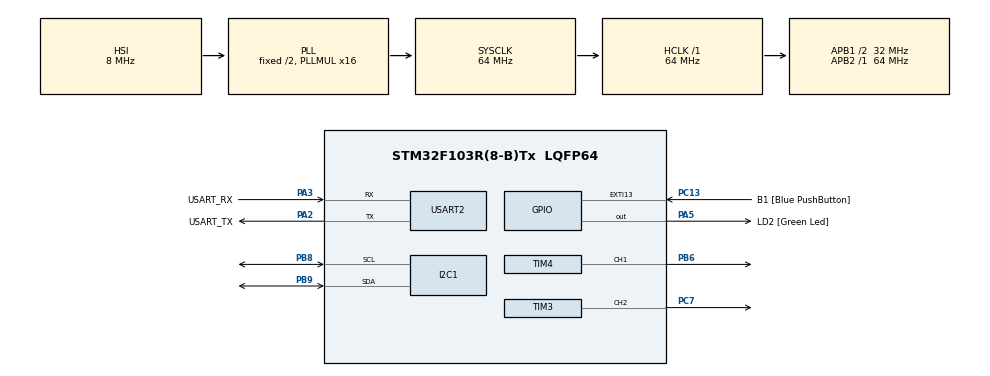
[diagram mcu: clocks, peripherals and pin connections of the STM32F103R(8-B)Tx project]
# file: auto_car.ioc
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Mcu.Family=STM32F1
Mcu.Name=STM32F103R(8-B)Tx
Mcu.Package=LQFP64
NVIC.EXTI15_10_IRQn=true\:0\:0\:false\:false\:true\:true\:true\:true
NVIC.PriorityGroup=NVIC_PRIORITYGROUP_4
NVIC.USART2_IRQn=true\:1\:0\:true\:false\:true\:true\:true\:true
PA13.GPIO_Label=TMS
PA13.Mode=Serial_Wire
PA13.Signal=SYS_JTMS-SWDIO
PA14.GPIO_Label=TCK
PA14.Mode=Serial_Wire
PA14.Signal=SYS_JTCK-SWCLK
PA2.GPIO_Label=USART_TX
PA2.GPIO_Mode=GPIO_MODE_AF_PP
PA2.GPIO_Speed=GPIO_SPEED_FREQ_HIGH
PA2.Mode=Asynchronous
PA2.Signal=USART2_TX
PA3.GPIO_Label=USART_RX
PA3.GPIO_Mode=GPIO_MODE_INPUT
PA3.GPIO_PuPd=GPIO_NOPULL
PA3.GPIO_Speed=GPIO_SPEED_FREQ_LOW
PA3.Mode=Asynchronous
PA3.Signal=USART2_RX
PA5.GPIO_Label=LD2 [Green Led]
PA5.GPIO_ModeDefaultOutputPP=GPIO_MODE_OUTPUT_PP
PA5.GPIO_PuPd=GPIO_NOPULL
PA5.GPIO_Speed=GPIO_SPEED_FREQ_LOW
PA5.Signal=GPIO_Output
PB3.GPIO_Label=SWO
PB3.Signal=SYS_JTDO-TRACESWO
PB6.Signal=S_TIM4_CH1
PB8.Mode=I2C
PB8.Signal=I2C1_SCL
PB9.Mode=I2C
PB9.Signal=I2C1_SDA
PC13-TAMPER-RTC.GPIO_Label=B1 [Blue PushButton]
PC13-TAMPER-RTC.GPIO_PuPd=GPIO_NOPULL
PC13-TAMPER-RTC.Signal=GPXTI13
PC14-OSC32_IN.Mode=LSE-External-Oscillator
PC14-OSC32_IN.Signal=RCC_OSC32_IN
PC15-OSC32_OUT.Mode=LSE-External-Oscillator
PC15-OSC32_OUT.Signal=RCC_OSC32_OUT
PC7.Signal=S_TIM3_CH2
PD0-OSC_IN.Mode=HSE-External-Clock-Source
PD0-OSC_IN.Signal=RCC_OSC_IN
PD1-OSC_OUT.Mode=HSE-External-Clock-Source
PD1-OSC_OUT.Signal=RCC_OSC_OUT
ProjectManager.HeapSize=0x200
ProjectManager.StackSize=0x400
ProjectManager.TargetToolchain=MDK-ARM V5.32
RCC.AHBFreq_Value=64000000
RCC.APB1CLKDivider=RCC_HCLK_DIV2
RCC.APB1Freq_Value=32000000
RCC.APB1TimFreq_Value=64000000
RCC.APB2Freq_Value=64000000
RCC.APB2TimFreq_Value=64000000
RCC.HCLKFreq_Value=64000000
RCC.PLLMUL=RCC_PLL_MUL16
RCC.RTCClockSelection=RCC_RTCCLKSOURCE_LSE
RCC.SYSCLKFreq_VALUE=64000000
RCC.SYSCLKSource=RCC_SYSCLKSOURCE_PLLCLK
RCC.USBFreq_Value=64000000
SH.S_TIM3_CH2.0=TIM3_CH2,PWM Generation2 CH2
SH.S_TIM4_CH1.0=TIM4_CH1,PWM Generation1 CH1
TIM3.Channel-PWM\ Generation2\ CH2=TIM_CHANNEL_2
TIM3.Period=19999
TIM3.Prescaler=63
TIM3.Pulse-PWM\ Generation2\ CH2=1500
TIM4.Channel-PWM\ Generation1\ CH1=TIM_CHANNEL_1
TIM4.Period=19999
TIM4.Prescaler=63
TIM4.Pulse-PWM\ Generation1\ CH1=1500
USART2.VirtualMode=VM_ASYNC
board=NUCLEO-F103RB

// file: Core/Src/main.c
/* USER CODE BEGIN Header */
/**
  ******************************************************************************
  * @file           : main.c
  * @brief          : Main program body
  ******************************************************************************
  * @attention
  *
  * Copyright (c) 2026 STMicroelectronics.
  * All rights reserved.
  *
  * This software is licensed under terms that can be found in the LICENSE file
  * in the root directory of this software component.
  * If no LICENSE file comes with this software, it is provided AS-IS.
  *
  ******************************************************************************
  */
/* USER CODE END Header */
#include "main.h"

/* USER CODE BEGIN Includes */
#include "stdio.h"
/* USER CODE END Includes */

/* USER CODE BEGIN PD */
#define ESC_STOP_PULSE_US       1500U
#define BENCH_TIMEOUT_MS        2000U

#define BNO055_I2C_ADDRESS_7BIT  0x28U
#define BNO055_CHIP_ID_REGISTER  0x00U

#define BMP280_I2C_ADDRESS_7BIT  0x76U
#define BMP280_CHIP_ID_REGISTER  0xD0U

#define BNO055_OPR_MODE_REGISTER  0x3DU
#define BNO055_CONFIG_MODE        0x00U
#define BNO055_NDOF_MODE          0x0CU

#define BNO055_EULER_DATA_REGISTER  0x1AU
#define BNO055_EULER_SCALE           16L
#define IMU_OUTPUT_PERIOD_MS         200U

#define BNO055_CALIB_STAT_REGISTER  0x35U
#define CALIB_OUTPUT_PERIOD_MS      1000U

#define BNO055_SYS_STATUS_REGISTER  0x39U
#define BNO055_SYS_ERR_REGISTER     0x3AU
/* USER CODE END PD */

I2C_HandleTypeDef hi2c1;

TIM_HandleTypeDef htim3;
TIM_HandleTypeDef htim4;

UART_HandleTypeDef huart2;

/* USER CODE BEGIN PV */

static const uint8_t pong_message[] = "PONG\n";

static uint8_t uart_rx_byte = 0U;
static uint8_t uart_line_buffer[16];
static volatile uint8_t uart_line_length = 0U;
static volatile uint8_t uart_line_ready = 0U;
static uint32_t last_led_tick = 0U;

static volatile uint8_t stop_requested = 0U;
static uint8_t bench_command_active = 0U;
static uint32_t last_bench_command_tick = 0U;

static uint32_t last_imu_tick = 0U;

static uint32_t last_calib_tick = 0U;

/* USER CODE END PV */

void SystemClock_Config(void);
static void MX_GPIO_Init(void);
static void MX_USART2_UART_Init(void);
static void MX_TIM3_Init(void);
static void MX_TIM4_Init(void);
static void MX_I2C1_Init(void);
/* USER CODE BEGIN PFP */
static void I2C_Scan(void);
static void Sensor_ReadChipIds(void);
static void BNO055_EnableNDOF(void);
static void BNO055_PrintEuler(void);
static void BNO055_PrintCalibration(void);
static void BNO055_PrintDiagnostics(void);
/* USER CODE END PFP */

/* USER CODE BEGIN 0 */
static void BNO055_PrintDiagnostics(void)
{
    static const uint8_t read_error[] =
        "BNO055 DIAGNOSTIC READ ERROR\r\n";

    uint8_t system_data[2];
    uint8_t operation_mode = 0U;
    char message[80];
    int message_length;

    if (HAL_I2C_Mem_Read(
            &hi2c1,
            (uint16_t)(BNO055_I2C_ADDRESS_7BIT << 1U),
            BNO055_SYS_STATUS_REGISTER,
            I2C_MEMADD_SIZE_8BIT,
            system_data,
            2U,
            100U) != HAL_OK)
    {
        (void)HAL_UART_Transmit(
            &huart2,
            (uint8_t *)read_error,
            (uint16_t)(sizeof(read_error) - 1U),
            100U);
        return;
    }

    if (HAL_I2C_Mem_Read(
            &hi2c1,
            (uint16_t)(BNO055_I2C_ADDRESS_7BIT << 1U),
            BNO055_OPR_MODE_REGISTER,
            I2C_MEMADD_SIZE_8BIT,
            &operation_mode,
            1U,
            100U) != HAL_OK)
    {
        (void)HAL_UART_Transmit(
            &huart2,
            (uint8_t *)read_error,
            (uint16_t)(sizeof(read_error) - 1U),
            100U);
        return;
    }

    message_length = snprintf(
        message,
        sizeof(message),
        "MODE=0x%02X SYS_STATUS=%u SYS_ERR=0x%02X\r\n",
        (unsigned int)operation_mode,
        (unsigned int)system_data[0],
        (unsigned int)system_data[1]);

    if ((message_length > 0) &&
        (message_length < (int)sizeof(message)))
    {
        (void)HAL_UART_Transmit(
            &huart2,
            (uint8_t *)message,
            (uint16_t)message_length,
            100U);
    }
}

static void I2C_Scan(void)
{
    static const uint8_t hex_digits[] = "0123456789ABCDEF";
    static const uint8_t done_message[] = "I2C SCAN DONE\r\n";
    static const uint8_t none_message[] = "I2C DEVICE NOT FOUND\r\n";

    uint8_t message[] = "I2C 0x00\r\n";
    uint8_t device_found = 0U;
    uint16_t address;

    for (address = 0x08U; address <= 0x77U; address++)
    {
        if (HAL_I2C_IsDeviceReady(
                &hi2c1,
                (uint16_t)(address << 1U),
                2U,
                20U) == HAL_OK)
        {
            device_found = 1U;

            message[6] = hex_digits[(address >> 4U) & 0x0FU];
            message[7] = hex_digits[address & 0x0FU];

            (void)HAL_UART_Transmit(
                &huart2,
                message,
                (uint16_t)(sizeof(message) - 1U),
                100U);
        }
    }

    if (device_found != 0U)
    {
        (void)HAL_UART_Transmit(
            &huart2,
            done_message,
            (uint16_t)(sizeof(done_message) - 1U),
            100U);
    }
    else
    {
        (void)HAL_UART_Transmit(
            &huart2,
            none_message,
            (uint16_t)(sizeof(none_message) - 1U),
            100U);
    }
}

static void Sensor_ReadChipIds(void)
{
    static const uint8_t hex_digits[] = "0123456789ABCDEF";
    static const uint8_t bno_error[] = "BNO055 READ ERROR\r\n";
    static const uint8_t bmp_error[] = "BMP280 READ ERROR\r\n";

    uint8_t bno_message[] = "BNO055 ID: 0x00\r\n";
    uint8_t bmp_message[] = "BMP280 ID: 0x00\r\n";
    uint8_t chip_id = 0U;

    if (HAL_I2C_Mem_Read(
            &hi2c1,
            (uint16_t)(BNO055_I2C_ADDRESS_7BIT << 1U),
            BNO055_CHIP_ID_REGISTER,
            I2C_MEMADD_SIZE_8BIT,
            &chip_id,
            1U,
            100U) == HAL_OK)
    {
        bno_message[13] = hex_digits[(chip_id >> 4U) & 0x0FU];
        bno_message[14] = hex_digits[chip_id & 0x0FU];

        (void)HAL_UART_Transmit(
            &huart2,
            bno_message,
            (uint16_t)(sizeof(bno_message) - 1U),
            100U);
    }
    else
    {
        (void)HAL_UART_Transmit(
            &huart2,
            bno_error,
            (uint16_t)(sizeof(bno_error) - 1U),
            100U);
    }

    chip_id = 0U;

    if (HAL_I2C_Mem_Read(
            &hi2c1,
            (uint16_t)(BMP280_I2C_ADDRESS_7BIT << 1U),
            BMP280_CHIP_ID_REGISTER,
            I2C_MEMADD_SIZE_8BIT,
            &chip_id,
            1U,
            100U) == HAL_OK)
    {
        bmp_message[13] = hex_digits[(chip_id >> 4U) & 0x0FU];
        bmp_message[14] = hex_digits[chip_id & 0x0FU];

        (void)HAL_UART_Transmit(
            &huart2,
            bmp_message,
            (uint16_t)(sizeof(bmp_message) - 1U),
            100U);
    }
    else
    {
        (void)HAL_UART_Transmit(
            &huart2,
            bmp_error,
            (uint16_t)(sizeof(bmp_error) - 1U),
            100U);
    }
}

static void BNO055_EnableNDOF(void)
{
    static const uint8_t hex_digits[] = "0123456789ABCDEF";
    static const uint8_t write_error[] = "BNO055 MODE WRITE ERROR\r\n";
    static const uint8_t read_error[] = "BNO055 MODE READ ERROR\r\n";

    uint8_t message[] = "BNO055 MODE: 0x00\r\n";
    uint8_t mode = BNO055_CONFIG_MODE;

    if (HAL_I2C_Mem_Write(
            &hi2c1,
            (uint16_t)(BNO055_I2C_ADDRESS_7BIT << 1U),
            BNO055_OPR_MODE_REGISTER,
            I2C_MEMADD_SIZE_8BIT,
            &mode,
            1U,
            100U) != HAL_OK)
    {
        (void)HAL_UART_Transmit(
            &huart2,
            write_error,
            (uint16_t)(sizeof(write_error) - 1U),
            100U);
        return;
    }

    HAL_Delay(20U);

    mode = BNO055_NDOF_MODE;

    if (HAL_I2C_Mem_Write(
            &hi2c1,
            (uint16_t)(BNO055_I2C_ADDRESS_7BIT << 1U),
            BNO055_OPR_MODE_REGISTER,
            I2C_MEMADD_SIZE_8BIT,
            &mode,
            1U,
            100U) != HAL_OK)
    {
        (void)HAL_UART_Transmit(
            &huart2,
            write_error,
            (uint16_t)(sizeof(write_error) - 1U),
            100U);
        return;
    }

    HAL_Delay(10U);

    mode = 0U;

    if (HAL_I2C_Mem_Read(
            &hi2c1,
            (uint16_t)(BNO055_I2C_ADDRESS_7BIT << 1U),
            BNO055_OPR_MODE_REGISTER,
            I2C_MEMADD_SIZE_8BIT,
            &mode,
            1U,
            100U) == HAL_OK)
    {
        message[15] = hex_digits[(mode >> 4U) & 0x0FU];
        message[16] = hex_digits[mode & 0x0FU];

        (void)HAL_UART_Transmit(
            &huart2,
            message,
            (uint16_t)(sizeof(message) - 1U),
            100U);
    }
    else
    {
        (void)HAL_UART_Transmit(
            &huart2,
            read_error,
            (uint16_t)(sizeof(read_error) - 1U),
            100U);
    }
}

static void BNO055_PrintEuler(void)
{
    static const uint8_t read_error[] = "BNO055 EULER READ ERROR\r\n";

    uint8_t data[6];
    int16_t heading_raw;
    int16_t roll_raw;
    int16_t pitch_raw;

    int32_t heading_cdeg;
    int32_t roll_cdeg;
    int32_t pitch_cdeg;

    char message[80];
    int message_length;

    if (HAL_I2C_Mem_Read(
            &hi2c1,
            (uint16_t)(BNO055_I2C_ADDRESS_7BIT << 1U),
            BNO055_EULER_DATA_REGISTER,
            I2C_MEMADD_SIZE_8BIT,
            data,
            6U,
            100U) != HAL_OK)
    {
        (void)HAL_UART_Transmit(
            &huart2,
            (uint8_t *)read_error,
            (uint16_t)(sizeof(read_error) - 1U),
            100U);
        return;
    }

    heading_raw = (int16_t)(
        ((uint16_t)data[1] << 8U) |
        (uint16_t)data[0]);

    roll_raw = (int16_t)(
        ((uint16_t)data[3] << 8U) |
        (uint16_t)data[2]);

    pitch_raw = (int16_t)(
        ((uint16_t)data[5] << 8U) |
        (uint16_t)data[4]);

    /*
     * BNO055 produces 16 LSB per degree.
     * Convert to centidegrees:
     * 12345 means 123.45 degrees.
     */
    heading_cdeg =
        ((int32_t)heading_raw * 100L) / BNO055_EULER_SCALE;

    roll_cdeg =
        ((int32_t)roll_raw * 100L) / BNO055_EULER_SCALE;

    pitch_cdeg =
        ((int32_t)pitch_raw * 100L) / BNO055_EULER_SCALE;

    message_length = snprintf(
        message,
        sizeof(message),
        "H_cdeg=%ld R_cdeg=%ld P_cdeg=%ld\r\n",
        (long)heading_cdeg,
        (long)roll_cdeg,
        (long)pitch_cdeg);

    if ((message_length > 0) &&
        (message_length < (int)sizeof(message)))
    {
        (void)HAL_UART_Transmit(
            &huart2,
            (uint8_t *)message,
            (uint16_t)message_length,
            100U);
    }
}

void HAL_GPIO_EXTI_Callback(uint16_t GPIO_Pin)
{
    if (GPIO_Pin == B1_Pin)
    {
        stop_requested = 1U;
    }
}

void HAL_UART_RxCpltCallback(UART_HandleTypeDef *huart)
{
    if (huart->Instance == USART2)
    {
        if (uart_line_ready == 0U)
        {
            if (uart_rx_byte == (uint8_t)'\n')
            {
                uart_line_ready = 1U;
            }
            else if (uart_rx_byte != (uint8_t)'\r')
            {
                if (uart_line_length < (uint8_t)sizeof(uart_line_buffer))
                {
                    uart_line_buffer[uart_line_length] = uart_rx_byte;
                    uart_line_length++;
                }
                else
                {
                    uart_line_length = 0U;
                }
            }
        }

        if (HAL_UART_Receive_IT(&huart2, &uart_rx_byte, 1U) != HAL_OK)
        {
            Error_Handler();
        }
    }
}

static void BNO055_PrintCalibration(void)
{
    static const uint8_t read_error[] =
        "BNO055 CALIB READ ERROR\r\n";

    uint8_t calib_status = 0U;
    uint8_t system_status;
    uint8_t gyro_status;
    uint8_t accel_status;
    uint8_t mag_status;

    char message[64];
    int message_length;

    if (HAL_I2C_Mem_Read(
            &hi2c1,
            (uint16_t)(BNO055_I2C_ADDRESS_7BIT << 1U),
            BNO055_CALIB_STAT_REGISTER,
            I2C_MEMADD_SIZE_8BIT,
            &calib_status,
            1U,
            100U) != HAL_OK)
    {
        (void)HAL_UART_Transmit(
            &huart2,
            (uint8_t *)read_error,
            (uint16_t)(sizeof(read_error) - 1U),
            100U);
        return;
    }

    system_status = (calib_status >> 6U) & 0x03U;
    gyro_status   = (calib_status >> 4U) & 0x03U;
    accel_status  = (calib_status >> 2U) & 0x03U;
    mag_status    = calib_status & 0x03U;

    message_length = snprintf(
        message,
        sizeof(message),
        "CAL SYS=%u GYR=%u ACC=%u MAG=%u\r\n",
        (unsigned int)system_status,
        (unsigned int)gyro_status,
        (unsigned int)accel_status,
        (unsigned int)mag_status);

    if ((message_length > 0) &&
        (message_length < (int)sizeof(message)))
    {
        (void)HAL_UART_Transmit(
            &huart2,
            (uint8_t *)message,
            (uint16_t)message_length,
            100U);
    }
}
/* USER CODE END 0 */

int main(void)
{

  /* MCU Configuration--------------------------------------------------------*/

  /* Reset of all peripherals, Initializes the Flash interface and the Systick. */
  HAL_Init();

  /* Configure the system clock */
  SystemClock_Config();

  /* Initialize all configured peripherals */
  MX_GPIO_Init();
  MX_USART2_UART_Init();
  MX_TIM3_Init();
  MX_TIM4_Init();
  MX_I2C1_Init();
  /* USER CODE BEGIN 2 */
	if (HAL_UART_Receive_IT(&huart2, &uart_rx_byte, 1U) != HAL_OK)
	{
    Error_Handler();
	}
	if (HAL_TIM_PWM_Start(&htim3, TIM_CHANNEL_2) != HAL_OK)
	{
    Error_Handler();
	}

	HAL_Delay(700);
	I2C_Scan();
	Sensor_ReadChipIds();
	BNO055_EnableNDOF();

	if (HAL_TIM_PWM_Start(&htim4, TIM_CHANNEL_1) != HAL_OK)
	{
    Error_Handler();
	}
  __HAL_TIM_SET_COMPARE(
    &htim4,
    TIM_CHANNEL_1,
    ESC_STOP_PULSE_US
  );
  /* USER CODE END 2 */

  /* Infinite loop */
	while (1)
	{

    /* USER CODE BEGIN 3 */
		if (stop_requested != 0U)
		{
			__HAL_TIM_SET_COMPARE(
					&htim4,
					TIM_CHANNEL_1,
					ESC_STOP_PULSE_US
			);

			bench_command_active = 0U;
			stop_requested = 0U;
		}
		else if ((bench_command_active != 0U) &&
         ((HAL_GetTick() - last_bench_command_tick) >= BENCH_TIMEOUT_MS))
		{
			__HAL_TIM_SET_COMPARE(
					&htim4,
					TIM_CHANNEL_1,
					ESC_STOP_PULSE_US
			);

			bench_command_active = 0U;
		}

		if ((HAL_GetTick() - last_led_tick) >= 500U)
		{
			last_led_tick = HAL_GetTick();
			HAL_GPIO_TogglePin(LD2_GPIO_Port, LD2_Pin);
		}
		if ((HAL_GetTick() - last_imu_tick) >= IMU_OUTPUT_PERIOD_MS)
		{
			last_imu_tick = HAL_GetTick();
			BNO055_PrintEuler();
		}

		if ((HAL_GetTick() - last_calib_tick) >= CALIB_OUTPUT_PERIOD_MS)
		{
			last_calib_tick = HAL_GetTick();
			BNO055_PrintCalibration();
			BNO055_PrintDiagnostics();
		}

		if (uart_line_ready != 0U)
		{
			if ((uart_line_length == 4U) &&
					(uart_line_buffer[0] == (uint8_t)'P') &&
					(uart_line_buffer[1] == (uint8_t)'I') &&
					(uart_line_buffer[2] == (uint8_t)'N') &&
					(uart_line_buffer[3] == (uint8_t)'G'))
			{
					HAL_UART_Transmit(
							&huart2,
							(uint8_t *)pong_message,
							(uint16_t)(sizeof(pong_message) - 1U),
							100U
					);
			}

			uart_line_length = 0U;
			uart_line_ready = 0U;
		}
  }
  /* USER CODE END 3 */
}

void SystemClock_Config(void)
{
  RCC_OscInitTypeDef RCC_OscInitStruct = {0};
  RCC_ClkInitTypeDef RCC_ClkInitStruct = {0};

  /** Initializes the RCC Oscillators according to the specified parameters
  * in the RCC_OscInitTypeDef structure.
  */
  RCC_OscInitStruct.OscillatorType = RCC_OSCILLATORTYPE_HSI;
  RCC_OscInitStruct.HSIState = RCC_HSI_ON;
  RCC_OscInitStruct.HSICalibrationValue = RCC_HSICALIBRATION_DEFAULT;
  RCC_OscInitStruct.PLL.PLLState = RCC_PLL_ON;
  RCC_OscInitStruct.PLL.PLLSource = RCC_PLLSOURCE_HSI_DIV2;
  RCC_OscInitStruct.PLL.PLLMUL = RCC_PLL_MUL16;
  if (HAL_RCC_OscConfig(&RCC_OscInitStruct) != HAL_OK)
  {
    Error_Handler();
  }

  /** Initializes the CPU, AHB and APB buses clocks
  */
  RCC_ClkInitStruct.ClockType = RCC_CLOCKTYPE_HCLK|RCC_CLOCKTYPE_SYSCLK
                              |RCC_CLOCKTYPE_PCLK1|RCC_CLOCKTYPE_PCLK2;
  RCC_ClkInitStruct.SYSCLKSource = RCC_SYSCLKSOURCE_PLLCLK;
  RCC_ClkInitStruct.AHBCLKDivider = RCC_SYSCLK_DIV1;
  RCC_ClkInitStruct.APB1CLKDivider = RCC_HCLK_DIV2;
  RCC_ClkInitStruct.APB2CLKDivider = RCC_HCLK_DIV1;

  if (HAL_RCC_ClockConfig(&RCC_ClkInitStruct, FLASH_LATENCY_2) != HAL_OK)
  {
    Error_Handler();
  }
}

static void MX_I2C1_Init(void)
{

  hi2c1.Instance = I2C1;
  hi2c1.Init.ClockSpeed = 100000;
  hi2c1.Init.DutyCycle = I2C_DUTYCYCLE_2;
  hi2c1.Init.OwnAddress1 = 0;
  hi2c1.Init.AddressingMode = I2C_ADDRESSINGMODE_7BIT;
  hi2c1.Init.DualAddressMode = I2C_DUALADDRESS_DISABLE;
  hi2c1.Init.OwnAddress2 = 0;
  hi2c1.Init.GeneralCallMode = I2C_GENERALCALL_DISABLE;
  hi2c1.Init.NoStretchMode = I2C_NOSTRETCH_DISABLE;
  if (HAL_I2C_Init(&hi2c1) != HAL_OK)
  {
    Error_Handler();
  }

}

static void MX_TIM3_Init(void)
{

  TIM_MasterConfigTypeDef sMasterConfig = {0};
  TIM_OC_InitTypeDef sConfigOC = {0};

  htim3.Instance = TIM3;
  htim3.Init.Prescaler = 63;
  htim3.Init.CounterMode = TIM_COUNTERMODE_UP;
  htim3.Init.Period = 19999;
  htim3.Init.ClockDivision = TIM_CLOCKDIVISION_DIV1;
  htim3.Init.AutoReloadPreload = TIM_AUTORELOAD_PRELOAD_DISABLE;
  if (HAL_TIM_PWM_Init(&htim3) != HAL_OK)
  {
    Error_Handler();
  }
  sMasterConfig.MasterOutputTrigger = TIM_TRGO_RESET;
  sMasterConfig.MasterSlaveMode = TIM_MASTERSLAVEMODE_DISABLE;
  if (HAL_TIMEx_MasterConfigSynchronization(&htim3, &sMasterConfig) != HAL_OK)
  {
    Error_Handler();
  }
  sConfigOC.OCMode = TIM_OCMODE_PWM1;
  sConfigOC.Pulse = 1500;
  sConfigOC.OCPolarity = TIM_OCPOLARITY_HIGH;
  sConfigOC.OCFastMode = TIM_OCFAST_DISABLE;
  if (HAL_TIM_PWM_ConfigChannel(&htim3, &sConfigOC, TIM_CHANNEL_2) != HAL_OK)
  {
    Error_Handler();
  }
  HAL_TIM_MspPostInit(&htim3);

}

static void MX_TIM4_Init(void)
{

  TIM_MasterConfigTypeDef sMasterConfig = {0};
  TIM_OC_InitTypeDef sConfigOC = {0};

  htim4.Instance = TIM4;
  htim4.Init.Prescaler = 63;
  htim4.Init.CounterMode = TIM_COUNTERMODE_UP;
  htim4.Init.Period = 19999;
  htim4.Init.ClockDivision = TIM_CLOCKDIVISION_DIV1;
  htim4.Init.AutoReloadPreload = TIM_AUTORELOAD_PRELOAD_DISABLE;
  if (HAL_TIM_PWM_Init(&htim4) != HAL_OK)
  {
    Error_Handler();
  }
  sMasterConfig.MasterOutputTrigger = TIM_TRGO_RESET;
  sMasterConfig.MasterSlaveMode = TIM_MASTERSLAVEMODE_DISABLE;
  if (HAL_TIMEx_MasterConfigSynchronization(&htim4, &sMasterConfig) != HAL_OK)
  {
    Error_Handler();
  }
  sConfigOC.OCMode = TIM_OCMODE_PWM1;
  sConfigOC.Pulse = 1500;
  sConfigOC.OCPolarity = TIM_OCPOLARITY_HIGH;
  sConfigOC.OCFastMode = TIM_OCFAST_DISABLE;
  if (HAL_TIM_PWM_ConfigChannel(&htim4, &sConfigOC, TIM_CHANNEL_1) != HAL_OK)
  {
    Error_Handler();
  }
  HAL_TIM_MspPostInit(&htim4);

}

static void MX_USART2_UART_Init(void)
{

  huart2.Instance = USART2;
  huart2.Init.BaudRate = 115200;
  huart2.Init.WordLength = UART_WORDLENGTH_8B;
  huart2.Init.StopBits = UART_STOPBITS_1;
  huart2.Init.Parity = UART_PARITY_NONE;
  huart2.Init.Mode = UART_MODE_TX_RX;
  huart2.Init.HwFlowCtl = UART_HWCONTROL_NONE;
  huart2.Init.OverSampling = UART_OVERSAMPLING_16;
  if (HAL_UART_Init(&huart2) != HAL_OK)
  {
    Error_Handler();
  }

}

static void MX_GPIO_Init(void)
{
  GPIO_InitTypeDef GPIO_InitStruct = {0};

  /* GPIO Ports Clock Enable */
  __HAL_RCC_GPIOC_CLK_ENABLE();
  __HAL_RCC_GPIOD_CLK_ENABLE();
  __HAL_RCC_GPIOA_CLK_ENABLE();
  __HAL_RCC_GPIOB_CLK_ENABLE();

  /*Configure GPIO pin Output Level */
  HAL_GPIO_WritePin(LD2_GPIO_Port, LD2_Pin, GPIO_PIN_RESET);

  /*Configure GPIO pin : B1_Pin */
  GPIO_InitStruct.Pin = B1_Pin;
  GPIO_InitStruct.Mode = GPIO_MODE_IT_RISING;
  GPIO_InitStruct.Pull = GPIO_NOPULL;
  HAL_GPIO_Init(B1_GPIO_Port, &GPIO_InitStruct);

  /*Configure GPIO pin : LD2_Pin */
  GPIO_InitStruct.Pin = LD2_Pin;
  GPIO_InitStruct.Mode = GPIO_MODE_OUTPUT_PP;
  GPIO_InitStruct.Pull = GPIO_NOPULL;
  GPIO_InitStruct.Speed = GPIO_SPEED_FREQ_LOW;
  HAL_GPIO_Init(LD2_GPIO_Port, &GPIO_InitStruct);

  /* EXTI interrupt init*/
  HAL_NVIC_SetPriority(EXTI15_10_IRQn, 0, 0);
  HAL_NVIC_EnableIRQ(EXTI15_10_IRQn);

}

void Error_Handler(void)
{
  __disable_irq();
  while (1)
  {
  }
}
